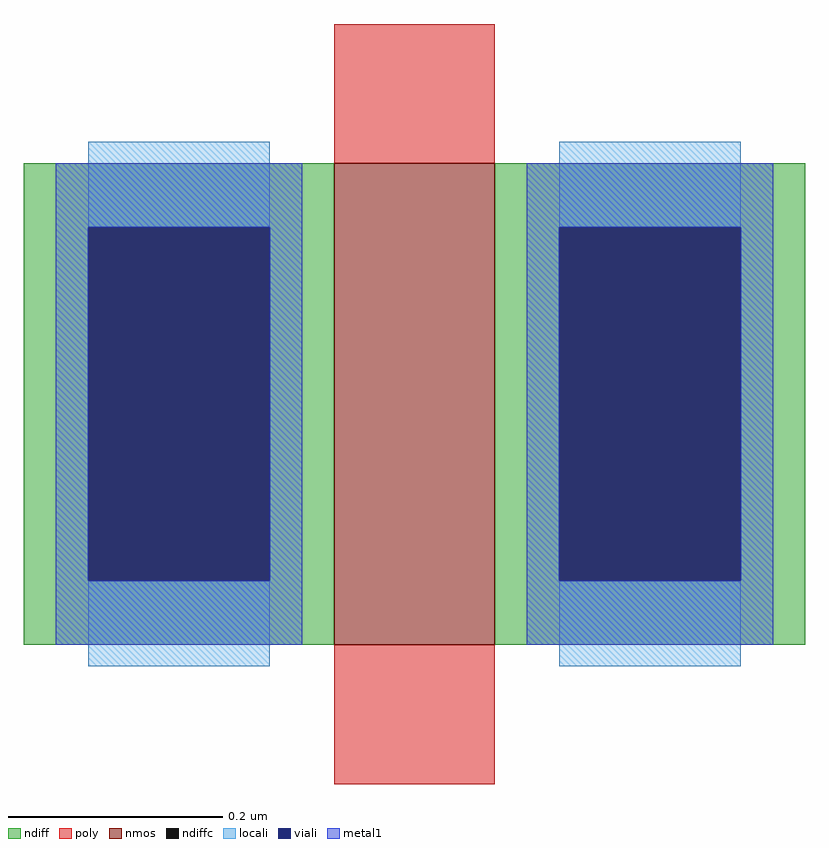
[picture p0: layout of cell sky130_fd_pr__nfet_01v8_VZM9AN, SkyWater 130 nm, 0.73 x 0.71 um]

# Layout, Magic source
magic
tech sky130A
magscale 1 2
<< nmos >>
rect -15 -45 15 45
<< ndiff >>
rect -73 33 -15 45
rect -73 -33 -61 33
rect -27 -33 -15 33
rect -73 -45 -15 -33
rect 15 33 73 45
rect 15 -33 27 33
rect 61 -33 73 33
rect 15 -45 73 -33
<< ndiffc >>
rect -61 -33 -27 33
rect 27 -33 61 33
<< poly >>
rect -15 45 15 71
rect -15 -71 15 -45
<< locali >>
rect -61 33 -27 49
rect -61 -49 -27 -33
rect 27 33 61 49
rect 27 -49 61 -33
<< viali >>
rect -61 -33 -27 33
rect 27 -33 61 33
<< metal1 >>
rect -67 33 -21 45
rect -67 -33 -61 33
rect -27 -33 -21 33
rect -67 -45 -21 -33
rect 21 33 67 45
rect 21 -33 27 33
rect 61 -33 67 33
rect 21 -45 67 -33
<< properties >>
string gencell sky130_fd_pr__nfet_01v8
string library sky130
string parameters w 0.45 l 0.15 m 1 nf 1 diffcov 100 polycov 100 guard 0 glc 1 grc 1 gtc 1 gbc 1 tbcov 100 rlcov 100 topc 0 botc 0 poverlap 0 doverlap 0 lmin 0.15 wmin 0.42 compatible {sky130_fd_pr__nfet_01v8 sky130_fd_pr__nfet_01v8_lvt  sky130_fd_bs_flash__special_sonosfet_star  sky130_fd_pr__nfet_g5v0d10v5 sky130_fd_pr__nfet_05v0_nvt  sky130_fd_pr__nfet_03v3_nvt} full_metal 1 viasrc 100 viadrn 100 viagate 100 viagb 0 viagr 0 viagl 0 viagt 0
<< end >>
